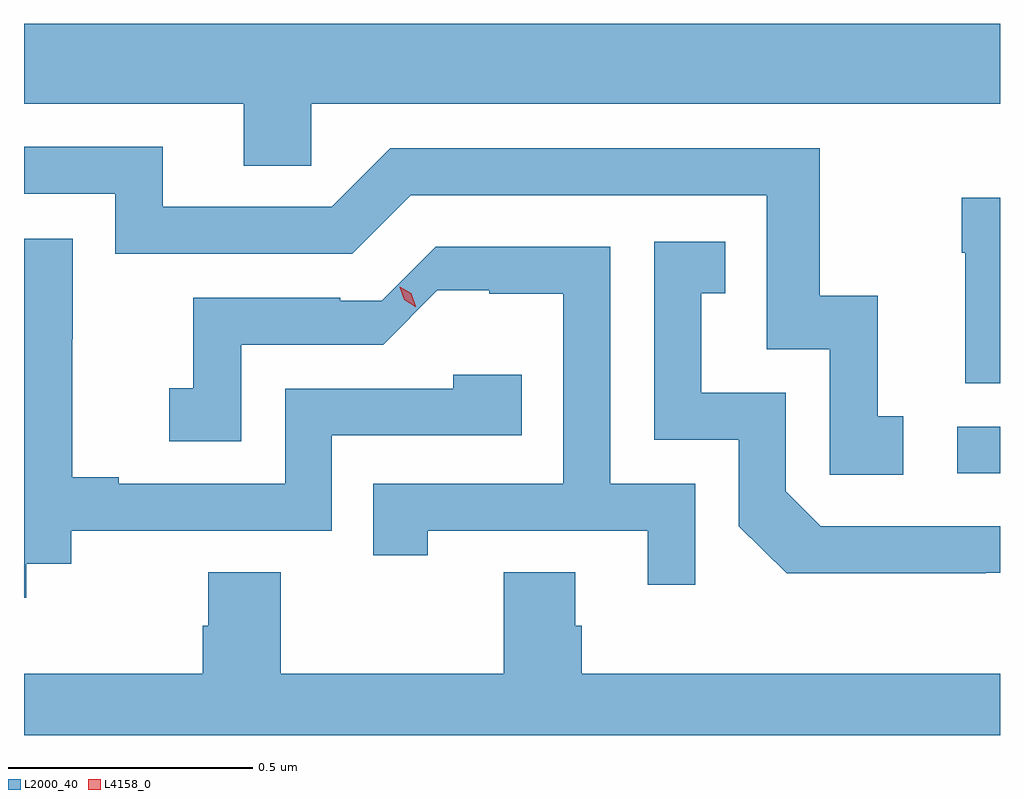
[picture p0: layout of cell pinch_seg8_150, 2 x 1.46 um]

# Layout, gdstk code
import gdstk
lib = gdstk.Library(unit=1e-6, precision=1e-09)
def R(c, l, rs):  # rectangles x0, y0, x1, y1
    for r in rs: c.add(gdstk.rectangle(r[:2], r[2:], *l))
def P(c, l, *ps):  # polygons
    for p in ps: c.add(gdstk.Polygon(p, *l))
L2000_40 = (2000, 40)
L4158_0 = (4158, 0)

pinch_seg8_150 = lib.new_cell('pinch_seg8_150')
R(pinch_seg8_150, L2000_40, [(642.849,1133.058,642.937,1133.154)])
P(pinch_seg8_150, L2000_40, [(641.526,1133.816),(642.937,1133.816),(642.937,1133.98),(640.937,1133.98),(640.937,1133.816),(641.387,1133.816),(641.387,1133.689),(641.526,1133.689)],
  [(642.739,1133.175),(642.686,1133.175),(642.686,1133.422),(642.568,1133.422),(642.568,1133.724),(641.688,1133.724),(641.568,1133.604),(641.221,1133.604),(641.221,1133.727),(640.937,1133.727),(640.937,1133.631),(641.124,1133.631),(641.124,1133.508),(641.61,1133.508),(641.73,1133.628),(642.459,1133.628),(642.459,1133.313),(642.588,1133.313),(642.588,1133.055),(642.739,1133.055)],
  [(642.937,1133.623),(642.859,1133.623),(642.859,1133.51),(642.866,1133.51),(642.866,1133.243),(642.937,1133.243)],
  [(640.942,1132.873),(641.034,1132.873),(641.034,1132.941),(641.568,1132.941),(641.568,1133.136),(641.957,1133.136),(641.957,1133.26),(641.817,1133.26),(641.817,1133.232),(641.472,1133.232),(641.472,1133.037),(641.131,1133.037),(641.131,1133.05),(641.036,1133.05),(641.036,1133.333),(641.037,1133.333),(641.037,1133.539),(640.937,1133.539),(640.937,1133.201),(640.938,1133.201),(640.938,1132.971),(640.937,1132.971),(640.937,1132.803),(640.942,1132.803)],
  [(642.908,1132.854),(642.937,1132.854),(642.937,1132.95),(642.57,1132.95),(642.498,1133.022),(642.498,1133.223),(642.325,1133.223),(642.325,1133.427),(642.374,1133.427),(642.374,1133.533),(642.228,1133.533),(642.228,1133.127),(642.402,1133.127),(642.402,1132.95),(642.5,1132.853),(642.908,1132.853)],
  [(642.312,1133.037),(642.138,1133.037),(642.138,1133.523),(641.781,1133.523),(641.67,1133.412),(641.585,1133.412),(641.585,1133.418),(641.284,1133.418),(641.284,1133.233),(641.235,1133.233),(641.235,1133.124),(641.382,1133.124),(641.382,1133.322),(641.673,1133.322),(641.784,1133.433),(641.89,1133.433),(641.89,1133.426),(642.042,1133.426),(642.042,1133.037),(641.653,1133.037),(641.653,1132.89),(641.764,1132.89),(641.764,1132.941),(642.215,1132.941),(642.215,1132.83),(642.312,1132.83)],
  [(642.937,1132.648),(642.08,1132.648),(642.08,1132.746),(642.067,1132.746),(642.067,1132.856),(641.92,1132.856),(641.92,1132.648),(641.463,1132.648),(641.463,1132.856),(641.315,1132.856),(641.315,1132.746),(641.303,1132.746),(641.303,1132.648),(640.937,1132.648),(640.937,1132.521),(642.937,1132.521)])
P(pinch_seg8_150, L4158_0, [(641.739,1133.4),(641.716,1133.414),(641.707,1133.44),(641.707,1133.441),(641.707,1133.441),(641.731,1133.427),(641.74,1133.401),(641.74,1133.4)])

lib.write_gds('pinch_seg8_150.gds')
